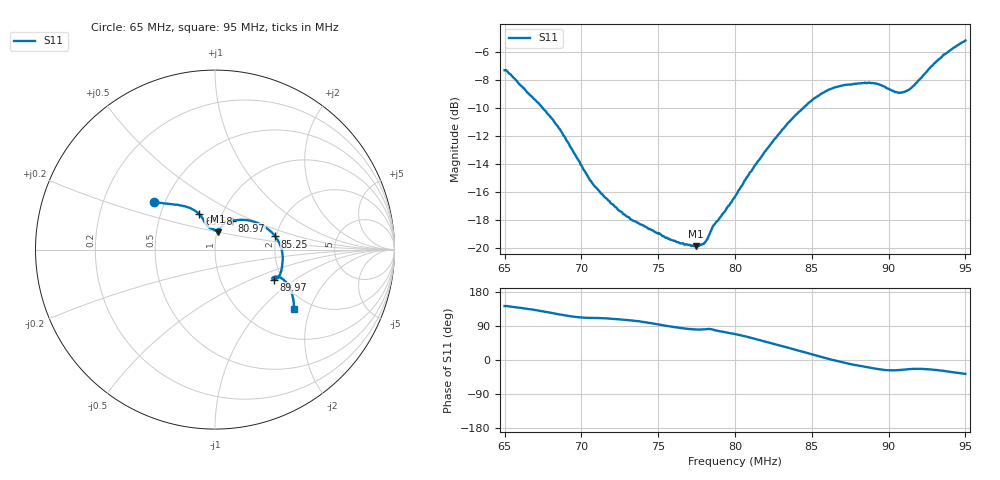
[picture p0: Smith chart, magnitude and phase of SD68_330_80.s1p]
! NanoVNA-App
! Date: 2025-08-09 13:14:38
! Start: 65MHz Stop: 95MHz Points: 401
! S-Parameter data: F S11
# Hz S RI R 50
!  Frequency  S11_Real  S11_Imag
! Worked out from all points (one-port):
!   401 points, 65 MHz to 95 MHz, reference 50 ohm
!   lowest |S11| = -19.9 dB at 77.45 MHz (marker M1), VSWR 1.23, Z = 50.7 + j10.2 ohm
!   |S11| at or under -10 dB: 67.46 MHz to 84.47 MHz (17 MHz wide, 22.4 % of centre)
!   S11 on the Smith chart (normalised r, x): 65 MHz: 0.44, +0.28; 69.58 MHz: 0.78, +0.32; 80.97 MHz: 1.14, +0.38; 85.25 MHz: 1.98, +0.33; 89.97 MHz: 1.80, -0.70; 95 MHz: 1.66, -1.56
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6.5e7  -0.3405 0.2628
6.53e7  -0.3266 0.2617
6.7325e7  -0.2047 0.249
6.875e7  -0.1254 0.2245
6.9575e7  -0.0867 0.1975
7.07e7  -0.0613 0.1589
7.25e7  -0.0401 0.1292
7.3325e7  -0.0307 0.1216
7.625e7  0.00764 0.1046
7.745e7  0.0168 0.1
7.805e7  0.0166 0.1034
7.865e7  0.0229 0.1187
8e7  0.0556 0.1416
8.0975e7  0.0949 0.1599
8.2475e7  0.1749 0.1647
8.375e7  0.2536 0.1412
8.4575e7  0.301 0.1096
8.525e7  0.3358 0.0731
8.63e7  0.37 0.00496
8.75e7  0.3758 -0.071
8.9075e7  0.3571 -0.1466
8.9975e7  0.3291 -0.1682
9.0575e7  0.32 -0.162
9.125e7  0.3322 -0.1516
9.1925e7  0.3626 -0.1559
9.2525e7  0.39 -0.1751
9.365e7  0.4276 -0.2388
9.5e7  0.4403 -0.3284
